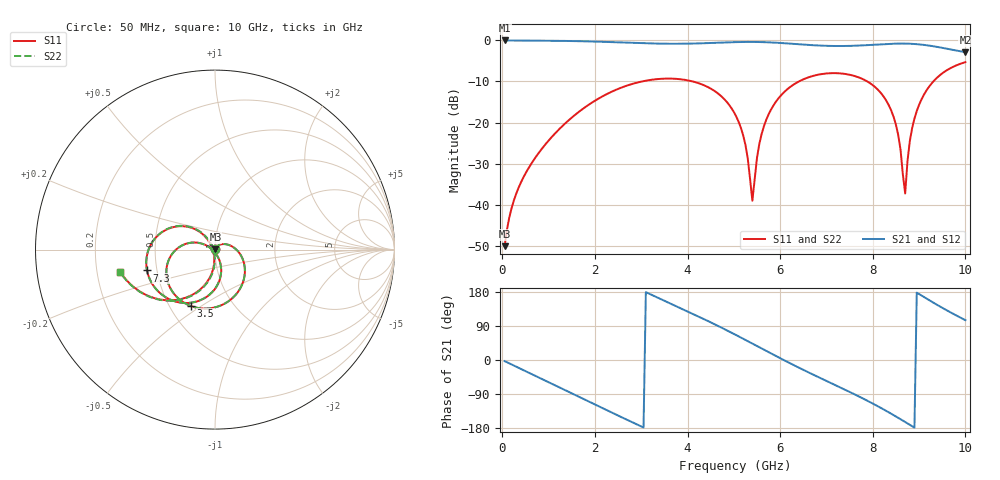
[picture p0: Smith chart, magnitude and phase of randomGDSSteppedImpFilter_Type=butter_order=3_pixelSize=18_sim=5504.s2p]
! freq	dB(S11)	phase(S11)	dB(S12)	phase(S12)
!  dB(S21)	phase(S21)	dB(S22)	phase(S22)
!S-par simulation data
#  GHz  S  DB  R 50
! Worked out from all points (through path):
!   200 points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, 50 MHz to 10 GHz, reference 50 ohm
!   highest |S21| = -0.02 dB at 50 MHz (marker M1); lowest = -2.9 dB at 10 GHz (marker M2)
!   group delay of S21, straight-line fit = 169 ps
!   lowest |S11| = -50.1 dB at 50 MHz (marker M3), VSWR 1.01, Z = 50.2 + j0.206 ohm
!   |S11| at or under -10 dB: start of sweep to 3.02 GHz; 4.11 GHz to 6.406 GHz (2.296 GHz wide, 43.7 % of centre); 7.88 GHz to 9.309 GHz (1.429 GHz wide, 16.6 % of centre)
!   |S22| runs from -50.1 to -5.3 dB; largest |S21 - S12| = 0
!   S11 on the Smith chart (normalised r, x): 50 MHz: 1.00, +0.00; 3.5 GHz: 0.64, -0.45; 7.3 GHz: 0.44, -0.12; 10 GHz: 0.30, -0.11
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0.05  -50.11 41.2  -0.02 -2.9  -0.02 -2.9  -50.11 41.2
0.25  -38.97 63.4  -0.04 -14.7  -0.04 -14.7  -38.97 63.4
0.55  -31.44 54.3  -0.06 -32.2  -0.06 -32.2  -31.44 54.2
1.2  -21.95 19.5  -0.11 -70.3  -0.11 -70.3  -21.95 19.4
1.75  -16.59 -12.6  -0.22 -102.7  -0.22 -102.7  -16.59 -12.7
2.6  -11.38 -62.2  -0.52 -152.4  -0.52 -152.4  -11.38 -62.2
3.4  -9.38 -107.6  -0.80 162.1  -0.80 162.1  -9.38 -107.6
3.5  -9.32 -113.1  -0.81 156.5  -0.81 156.5  -9.32 -113.2
4.35  -10.90 -160.5  -0.70 108.2  -0.70 108.2  -10.90 -160.4
5.05  -18.50 160.4  -0.42 65.7  -0.42 65.7  -18.50 160.7
5.25  -25.43 154.0  -0.38 53.0  -0.38 53.0  -25.40 154.7
5.4  -39.06 -137.4  -0.38 43.4  -0.38 43.4  -38.46 -137.4
5.55  -25.22 -67.1  -0.40 33.7  -0.40 33.7  -25.20 -68.1
5.75  -18.03 -73.9  -0.48 20.7  -0.48 20.7  -18.03 -74.4
6.7  -8.69 -129.0  -1.17 -37.9  -1.17 -37.9  -8.69 -129.2
7.3  -8.04 -163.0  -1.38 -72.6  -1.38 -72.6  -8.04 -163.2
8.35  -15.88 134.6  -0.85 -138.4  -0.85 -138.4  -15.89 133.6
8.55  -23.05 126.1  -0.78 -152.6  -0.78 -152.6  -23.10 123.8
8.7  -37.28 -139.9  -0.79 -163.6  -0.79 -163.6  -39.16 -133.4
8.8  -24.53 -93.9  -0.82 -171.0  -0.82 -171.0  -24.61 -90.9
9  -15.70 -101.2  -0.98 174.0  -0.98 174.0  -15.71 -100.0
10  -5.31 -166.8  -2.88 105.2  -2.88 105.2  -5.31 -166.4
